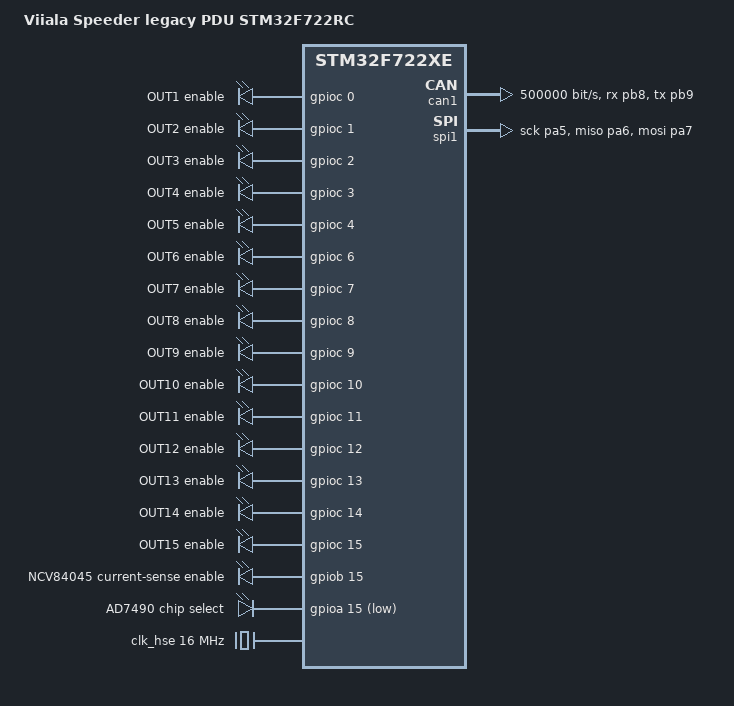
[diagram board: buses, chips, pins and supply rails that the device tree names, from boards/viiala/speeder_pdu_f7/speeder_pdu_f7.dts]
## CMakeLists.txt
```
cmake_minimum_required(VERSION 3.20.0)

# Keep this application and its board definition outside the Zephyr tree.
list(APPEND BOARD_ROOT ${CMAKE_CURRENT_SOURCE_DIR})
list(APPEND DTS_ROOT ${CMAKE_CURRENT_SOURCE_DIR})

find_package(Zephyr REQUIRED HINTS $ENV{ZEPHYR_BASE})
project(speeder_pdu_canopen)

# Export the selected dictionary to CANopenNode's separate library target.
# This also isolates the application from legacy object-dictionary paths in
# the shared workspace module.
zephyr_include_directories(${CMAKE_CURRENT_SOURCE_DIR}/objdict)

target_sources(app PRIVATE
	src/main.c
	src/pdu_adc.c
	src/pdu_control.c
	src/pdu_mcu_sensors.c
	src/pdu_telemetry.c
	objdict/CO_OD.c
)
target_include_directories(app PRIVATE objdict)

# The shared CANopenNode module in this laptop predates conditional program
# download source registration. Add that source from the discovered module
# only for the update-capable build, without modifying the shared module.
if(CONFIG_CANOPENNODE_PROGRAM_DOWNLOAD)
	target_sources(app PRIVATE
		${ZEPHYR_CANOPENNODEZEPHYR_MODULE_DIR}/src/canopen_program.c
		${ZEPHYR_CANOPENNODEZEPHYR_MODULE_DIR}/src/canopen_leds.c
	)
endif()
```

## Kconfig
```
menu "VIIALA PDU application"

config CANOPEN_NODE_ID
	int "CANopen node ID"
	range 1 127
	default 10

config PDU_SWO_DEBUG
	bool "Enable the temporary SWO diagnostic stream"
	default n
	help
	  Emit a boot message and periodic safe-state heartbeat over ITM/SWO.
	  This does not enable any power output or output-control object.

choice PDU_IMAGE_VARIANT
	prompt "Firmware image identity"
	default PDU_IMAGE_VARIANT_A
	help
	  Select the identity returned by CANopen SDO 0x100A:00.

config PDU_IMAGE_VARIANT_A
	bool "Image A (A001)"

config PDU_IMAGE_VARIANT_B
	bool "Image B (B001)"

endchoice

endmenu

source "Kconfig.zephyr"
```

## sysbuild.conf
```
# Build MCUboot and propagate overwrite-only mode to the application.
SB_CONFIG_BOOTLOADER_MCUBOOT=y
SB_CONFIG_MCUBOOT_MODE_OVERWRITE_ONLY=y

# Bench-only signature verification. Sysbuild defaults to the discovered
# MCUboot module's public RSA development key.
SB_CONFIG_BOOT_SIGNATURE_TYPE_RSA=y
```

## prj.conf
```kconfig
# Functional CANopen PDU with guarded current-protected outputs.
CONFIG_GPIO=y
CONFIG_ASSERT=y
CONFIG_MAIN_STACK_SIZE=2048
CONFIG_SPI=y

# CAN1/CANopen communication only. No persistent storage or program download
# is enabled until the 256 KiB flash sector layout and MCUboot fit are proven.
CONFIG_CAN=y
CONFIG_CAN_DEFAULT_BITRATE=500000
CONFIG_CANOPENNODE=y
CONFIG_CANOPEN_NODE_ID=10
CONFIG_CANOPENNODE_STORAGE=n
CONFIG_CANOPENNODE_LEDS=n
CONFIG_CANOPENNODE_SYNC_THREAD=y
CONFIG_CANOPENNODE_SYNC_THREAD_PERIOD_US=1000
CONFIG_CANOPENNODE_PROGRAM_DOWNLOAD=n

# Persistent settings are not enabled: the 256 KiB flash is fully occupied by
# MCUboot and the two image slots. SDO configuration survives communication
# resets but returns to compiled defaults after power loss.
CONFIG_CONSOLE=n
CONFIG_SERIAL=n
CONFIG_FLASH=n
CONFIG_FLASH_MAP=n
CONFIG_NVS=n
```

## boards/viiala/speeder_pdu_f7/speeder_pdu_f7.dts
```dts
/*
 * Copyright (c) 2026
 * SPDX-License-Identifier: Apache-2.0
 *
 * Hardware source: SPEEDER_PDU_v2.pdf, generated 2026-11-11.
 * MCU: STM32F722RCT6 (LQFP64, 256 KiB flash)
 * HSE: 16 MHz crystal
 */

/dts-v1/;

#include <st/f7/stm32f722Xe.dtsi>
#include <st/f7/stm32f722r(c-e)tx-pinctrl.dtsi>
#include <zephyr/dt-bindings/gpio/gpio.h>
#include <zephyr/dt-bindings/clock/stm32f7_clock.h>

/ {
	model = "Viiala Speeder legacy PDU STM32F722RC";
	compatible = "viiala,speeder-pdu-f7";

	chosen {
		zephyr,sram = &sram0;
		zephyr,flash = &flash0;
		zephyr,canbus = &can1;
		zephyr,code-partition = &slot0_partition;
	};

	/* The NCV84045 inputs have hardware pull-downs: reset/high-Z is OFF. */
	power_outputs: power_outputs {
		compatible = "gpio-leds";

		out1  { gpios = <&gpioc 0  GPIO_ACTIVE_HIGH>; label = "OUT1 enable";  };
		out2  { gpios = <&gpioc 1  GPIO_ACTIVE_HIGH>; label = "OUT2 enable";  };
		out3  { gpios = <&gpioc 2  GPIO_ACTIVE_HIGH>; label = "OUT3 enable";  };
		out4  { gpios = <&gpioc 3  GPIO_ACTIVE_HIGH>; label = "OUT4 enable";  };
		out5  { gpios = <&gpioc 4  GPIO_ACTIVE_HIGH>; label = "OUT5 enable";  };
		out6  { gpios = <&gpioc 6  GPIO_ACTIVE_HIGH>; label = "OUT6 enable";  };
		out7  { gpios = <&gpioc 7  GPIO_ACTIVE_HIGH>; label = "OUT7 enable";  };
		out8  { gpios = <&gpioc 8  GPIO_ACTIVE_HIGH>; label = "OUT8 enable";  };
		out9  { gpios = <&gpioc 9  GPIO_ACTIVE_HIGH>; label = "OUT9 enable";  };
		out10 { gpios = <&gpioc 10 GPIO_ACTIVE_HIGH>; label = "OUT10 enable"; };
		out11 { gpios = <&gpioc 11 GPIO_ACTIVE_HIGH>; label = "OUT11 enable"; };
		out12 { gpios = <&gpioc 12 GPIO_ACTIVE_HIGH>; label = "OUT12 enable"; };
		out13 { gpios = <&gpioc 13 GPIO_ACTIVE_HIGH>; label = "OUT13 enable"; };
		out14 { gpios = <&gpioc 14 GPIO_ACTIVE_HIGH>; label = "OUT14 enable"; };
		out15 { gpios = <&gpioc 15 GPIO_ACTIVE_HIGH>; label = "OUT15 enable"; };
	};

	current_sense_controls {
		compatible = "gpio-leds";

		current_sense_enable: cs_en {
			gpios = <&gpiob 15 GPIO_ACTIVE_HIGH>;
			label = "NCV84045 current-sense enable";
		};

		adc_cs: adc_cs {
			gpios = <&gpioa 15 GPIO_ACTIVE_LOW>;
			label = "AD7490 chip select";
		};
	};
};

&clk_hse {
	clock-frequency = <DT_FREQ_M(16)>;
	status = "okay";
};

/* 16 MHz / 8 * 216 / 2 = 216 MHz. */
&pll {
	div-m = <8>;
	mul-n = <216>;
	div-p = <2>;
	div-q = <9>;
	clocks = <&clk_hse>;
	status = "okay";
};

&rcc {
	clocks = <&pll>;
	clock-frequency = <DT_FREQ_M(216)>;
	ahb-prescaler = <1>;
	apb1-prescaler = <4>;
	apb2-prescaler = <2>;
};

/*
 * Upstream stm32f722Xe.dtsi describes the 512 KiB E variant. The fitted
 * STM32F722RCT6 is the 256 KiB C variant, so constrain both values here.
 */
&flash0 {
	reg = <0x08000000 DT_SIZE_K(256)>;
	ranges = <0 0x08000000 DT_SIZE_K(256)>;

	partitions {
		compatible = "fixed-partitions";
		#address-cells = <1>;
		#size-cells = <1>;

		/* Sectors 0-3: four 16 KiB sectors. */
		boot_partition: partition@0 {
			label = "mcuboot";
			reg = <0x00000000 DT_SIZE_K(64)>;
			read-only;
		};

		/* Sector 4: one 64 KiB sector. */
		slot0_partition: partition@10000 {
			label = "image-0";
			reg = <0x00010000 DT_SIZE_K(64)>;
		};

		/* Sector 5: one 128 KiB sector. */
		slot1_partition: partition@20000 {
			label = "image-1";
			reg = <0x00020000 DT_SIZE_K(128)>;
		};
	};
};

&can1 {
	pinctrl-0 = <&can1_rx_pb8 &can1_tx_pb9>;
	pinctrl-names = "default";
	bitrate = <500000>;
	status = "okay";
};

&spi1 {
	pinctrl-0 = <&spi1_sck_pa5 &spi1_miso_pa6 &spi1_mosi_pa7>;
	pinctrl-names = "default";
	status = "okay";
};

&usart2 {
	status = "disabled";
};
```

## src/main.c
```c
/*
 * Functional CANopen firmware for the VIIALA PDU.
 *
 * Outputs always initialize OFF. They can only turn on while CANopen is
 * Operational, current telemetry is valid, and no latched fault is present.
 */

#include <zephyr/device.h>
#include <zephyr/devicetree.h>
#include <zephyr/kernel.h>
#include <zephyr/logging/log.h>
#include <zephyr/sys/reboot.h>
#include <canopennode.h>

#include "CO_OD.h"
#include "pdu_adc.h"
#include "pdu_control.h"
#include "pdu_mcu_sensors.h"
#include "pdu_telemetry.h"

LOG_MODULE_REGISTER(viiala_pdu, LOG_LEVEL_INF);

#define CAN_INTERFACE DEVICE_DT_GET(DT_CHOSEN(zephyr_canbus))
#define CAN_BITRATE_KBPS_DEFAULT \
	(DT_PROP(DT_CHOSEN(zephyr_canbus), bitrate) / 1000)
#define ADC_SAMPLE_PERIOD_MS 5U
#define SLOW_TELEMETRY_PERIOD_MS 5000U
#define COMM_APPLY_MAGIC 0xA5U
#define COMM_APPLY_REJECTED 0xFFU

static bool bitrate_supported(uint16_t bitrate_kbps)
{
	return bitrate_kbps == 125U || bitrate_kbps == 250U ||
	       bitrate_kbps == 500U || bitrate_kbps == 1000U;
}

int main(void)
{
	struct canopen_context can = { .dev = CAN_INTERFACE };
	CO_NMT_reset_cmd_t reset = CO_RESET_NOT;
	uint8_t node_id = CONFIG_CANOPEN_NODE_ID;
	uint16_t bitrate_kbps = CAN_BITRATE_KBPS_DEFAULT;
	bool adc_ready;
	bool mcu_sensors_ready;
	bool currents_valid = false;
	uint16_t raw[PDU_OUTPUT_COUNT];
	int64_t next_adc_ms = 0;
	int64_t next_slow_telemetry_ms = 0;
	int64_t next_swo_heartbeat_ms = 0;

	if (pdu_control_init() != 0 || !device_is_ready(can.dev)) {
		LOG_ERR("Output GPIO or CAN initialization failed");
		return 0;
	}

	pdu_telemetry_init_safe();
	adc_ready = pdu_adc_init() == 0;
	mcu_sensors_ready = pdu_mcu_sensors_init() == 0;
	if (!adc_ready) {
		LOG_ERR("AD7490 initialization failed; outputs locked OFF");
	}
	if (!mcu_sensors_ready) {
		LOG_WRN("MCU temperature/VREF sensors are unavailable");
	}

	OD_pendingNodeID = node_id;
	OD_pendingBitrate_kbps = bitrate_kbps;
	LOG_INF("VIIALA_PDU1_V0 boot: all %u outputs OFF", PDU_OUTPUT_COUNT);
	next_swo_heartbeat_ms = k_uptime_get() + 5000;

	do {
		reset = CO_RESET_NOT;
		pdu_control_all_off();
		/* TPDO5 is manufacturer-specific; keep its COB-ID node-relative. */
		OD_TPDOCommunicationParameter[4].COB_IDUsedByTPDO =
			0x680U + node_id;

		if (CO_init(&can, node_id, bitrate_kbps) != CO_ERROR_NO) {
			LOG_ERR("CANopen initialization failed");
			return 0;
		}

		CO_CANsetNormalMode(CO->CANmodule[0]);
		LOG_INF("CANopen node %u at %u kbit/s", node_id, bitrate_kbps);

		if (IS_ENABLED(CONFIG_CANOPENNODE_PROGRAM_DOWNLOAD)) {
			canopen_program_download_attach(CO->NMT, CO->SDO[0], CO->em);
		}

		next_adc_ms = k_uptime_get();
		next_slow_telemetry_ms = k_uptime_get();
		while (reset == CO_RESET_NOT) {
			uint16_t timeout_ms = 1U;
			int64_t timestamp = k_uptime_get();
			bool operational =
				CO->NMT->operatingState == CO_NMT_OPERATIONAL;

			if (adc_ready && timestamp >= next_adc_ms) {
				uint16_t active = pdu_control_active_outputs();

				if (pdu_adc_sample(raw, active) == 0) {

					currents_valid = true;
					for (size_t i = 0; i < PDU_OUTPUT_COUNT; ++i) {
						uint32_t current_ma =
							(active & BIT(i)) != 0U ?
							pdu_adc_raw_to_ma(raw[i]) : 0U;

						(void)pdu_telemetry_set_current(
							i, raw[i], current_ma);
					}
				} else {
					currents_valid = false;
					pdu_telemetry_invalidate_currents();
				}
				next_adc_ms = timestamp + ADC_SAMPLE_PERIOD_MS;
			}

			if (timestamp >= next_slow_telemetry_ms) {
				uint16_t input_raw;
				uint16_t input_mv;
				int16_t die_temp_dc;
				uint16_t vdda_mv;

				if (adc_ready && pdu_adc_read_input_voltage(
							&input_raw, &input_mv) == 0) {
					pdu_telemetry_set_supply_voltage(input_mv, true);
				} else {
					pdu_telemetry_set_supply_voltage(0U, false);
				}

				if (mcu_sensors_ready && pdu_mcu_sensors_sample(
							&die_temp_dc, &vdda_mv) == 0) {
					pdu_telemetry_set_mcu_temperature(die_temp_dc, true);
					pdu_telemetry_set_mcu_supply(vdda_mv, true);
				} else {
					pdu_telemetry_set_mcu_temperature(0, false);
					pdu_telemetry_set_mcu_supply(0U, false);
				}
				if (operational) {
					(void)CO_TPDOsend(CO->TPDO[4]);
				}

				next_slow_telemetry_ms = timestamp +
							 SLOW_TELEMETRY_PERIOD_MS;
			}

			pdu_control_tick(timestamp, operational, currents_valid);
			pdu_telemetry_tick();

			if (OD_commApply == COMM_APPLY_MAGIC) {
				if (OD_pendingNodeID >= 1U && OD_pendingNodeID <= 127U &&
				    bitrate_supported(OD_pendingBitrate_kbps)) {
					OD_outputRequest = 0U;
					pdu_control_all_off();
					node_id = OD_pendingNodeID;
					bitrate_kbps = OD_pendingBitrate_kbps;
					OD_commApply = 0U;
					reset = CO_RESET_COMM;
				} else {
					OD_commApply = COMM_APPLY_REJECTED;
				}
			}

			if (IS_ENABLED(CONFIG_PDU_SWO_DEBUG) &&
			    timestamp >= next_swo_heartbeat_ms) {
				LOG_INF("uptime=%u outputs=0x%04x current=%u mA",
					OD_uptime_s, OD_outputStates,
					OD_totalCurrent_mA);
				next_swo_heartbeat_ms = timestamp + 5000;
			}

			if (reset == CO_RESET_NOT) {
				reset = CO_process(CO, 1U, &timeout_ms);
			}
			if (reset == CO_RESET_NOT && timeout_ms > 0U) {
				k_sleep(K_MSEC(MIN(timeout_ms, 1U)));
			}
		}

		pdu_control_all_off();
		CO_delete(&can);
	} while (reset != CO_RESET_APP);

	if (IS_ENABLED(CONFIG_REBOOT)) {
		sys_reboot(SYS_REBOOT_COLD);
	}

	return 0;
}
```

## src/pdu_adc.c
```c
/* SPDX-License-Identifier: Apache-2.0 */

#include <errno.h>

#include <zephyr/device.h>
#include <zephyr/devicetree.h>
#include <zephyr/drivers/gpio.h>
#include <zephyr/drivers/spi.h>
#include <zephyr/kernel.h>
#include <zephyr/sys/util.h>

#include "pdu_adc.h"

#define AD7490_WRITE              BIT(15)
#define AD7490_CHANNEL_SHIFT      10U
#define AD7490_POWER_NORMAL       (3U << 8)
#define AD7490_RANGE_REFIN        BIT(5)
#define AD7490_CODING_BINARY      BIT(4)
#define AD7490_RESULT_MASK        0x0FFFU
#define AD7490_CHANNEL_MASK       0xF000U
#define AD7490_SPI_FREQUENCY_HZ   1000000U

#define AD7490_REFERENCE_MV       2500U
#define NCV84045_SENSE_RATIO_TYP  1230U
#define CURRENT_SENSE_RESISTOR_OHM 301U
#define AD7490_FULL_SCALE_COUNTS  4095U
#define AD7490_ZERO_OFFSET_COUNTS    6U
#define CURRENT_DUMMY_READS          3U
#define CURRENT_FILTER_SAMPLES      16U
#define INPUT_VOLTAGE_CHANNEL       15U
#define INPUT_DIVIDER_HIGH_OHM      100000U
#define INPUT_DIVIDER_LOW_OHM        22000U

static const struct device *const spi_dev = DEVICE_DT_GET(DT_NODELABEL(spi1));
static const struct gpio_dt_spec adc_cs =
	GPIO_DT_SPEC_GET(DT_NODELABEL(adc_cs), gpios);
static const struct gpio_dt_spec current_sense_enable =
	GPIO_DT_SPEC_GET(DT_NODELABEL(current_sense_enable), gpios);

static const struct spi_config spi_cfg = {
	.frequency = AD7490_SPI_FREQUENCY_HZ,
	.operation = SPI_OP_MODE_MASTER | SPI_WORD_SET(8) |
		     SPI_TRANSFER_MSB,
	.slave = 0,
};

static uint16_t ad7490_control_word(uint8_t channel)
{
	return AD7490_WRITE | ((uint16_t)(channel & 0x0FU) << AD7490_CHANNEL_SHIFT) |
	       AD7490_POWER_NORMAL | AD7490_RANGE_REFIN | AD7490_CODING_BINARY;
}

static int ad7490_transfer(uint16_t tx_word, uint16_t *rx_word)
{
	uint8_t tx[2] = { (uint8_t)(tx_word >> 8), (uint8_t)tx_word };
	uint8_t rx[2] = { 0U, 0U };
	const struct spi_buf tx_buf = { .buf = tx, .len = sizeof(tx) };
	const struct spi_buf rx_buf = { .buf = rx, .len = sizeof(rx) };
	const struct spi_buf_set tx_set = { .buffers = &tx_buf, .count = 1 };
	const struct spi_buf_set rx_set = { .buffers = &rx_buf, .count = 1 };
	int ret;

	/* GPIO_ACTIVE_LOW makes logical 1 assert CS and logical 0 release it. */
	ret = gpio_pin_set_dt(&adc_cs, 1);
	if (ret != 0) {
		return ret;
	}

	k_busy_wait(1U);
	ret = spi_transceive(spi_dev, &spi_cfg, &tx_set, &rx_set);
	k_busy_wait(1U);
	(void)gpio_pin_set_dt(&adc_cs, 0);
	k_busy_wait(1U);

	if (ret == 0 && rx_word != NULL) {
		*rx_word = ((uint16_t)rx[0] << 8) | rx[1];
	}

	return ret;
}

static int ad7490_read_channel(uint8_t channel, uint16_t *raw)
{
	uint16_t response;
	uint16_t control = ad7490_control_word(channel);
	int ret;

	/* The first transfer selects the channel. The second returns that result. */
	ret = ad7490_transfer(control, &response);
	if (ret != 0) {
		return ret;
	}

	ret = ad7490_transfer(control, &response);
	if (ret != 0) {
		return ret;
	}

	if (((response & AD7490_CHANNEL_MASK) >> 12) != channel) {
		return -EIO;
	}

	*raw = response & AD7490_RESULT_MASK;
	return 0;
}

static int ad7490_read_current_filtered(uint8_t channel, uint16_t *raw_average)
{
	uint32_t sum = 0U;
	uint16_t raw = 0U;
	uint16_t minimum = UINT16_MAX;
	uint16_t maximum = 0U;
	int ret;

	/* Match the proven VI_PDU3 low-current acquisition sequence. */
	for (uint8_t i = 0U; i < CURRENT_DUMMY_READS; ++i) {
		ret = ad7490_read_channel(channel, &raw);
		if (ret != 0) {
			return ret;
		}
	}

	for (uint8_t i = 0U; i < CURRENT_FILTER_SAMPLES; ++i) {
		ret = ad7490_read_channel(channel, &raw);
		if (ret != 0) {
			return ret;
		}
		sum += raw;
		minimum = MIN(minimum, raw);
		maximum = MAX(maximum, raw);
	}

	sum -= minimum;
	sum -= maximum;
	*raw_average = (uint16_t)((sum + ((CURRENT_FILTER_SAMPLES - 2U) / 2U)) /
				 (CURRENT_FILTER_SAMPLES - 2U));
	return 0;
}

int pdu_adc_init(void)
{
	uint16_t ignored;
	int ret;

	if (!device_is_ready(spi_dev) || !gpio_is_ready_dt(&adc_cs) ||
	    !gpio_is_ready_dt(&current_sense_enable)) {
		return -ENODEV;
	}

	ret = gpio_pin_configure_dt(&adc_cs, GPIO_OUTPUT_INACTIVE);
	if (ret != 0) {
		return ret;
	}

	ret = gpio_pin_configure_dt(&current_sense_enable, GPIO_OUTPUT_INACTIVE);
	if (ret != 0) {
		return ret;
	}

	/* Prime with a valid channel-0 control word, as verified on VI_PDU3. */
	ret = ad7490_transfer(ad7490_control_word(0U), &ignored);
	if (ret != 0) {
		return ret;
	}

	ret = gpio_pin_set_dt(&current_sense_enable, 1);
	if (ret != 0) {
		return ret;
	}

	/* Allow the NCV84045 current-sense outputs to settle. */
	k_sleep(K_USEC(100));
	return 0;
}

int pdu_adc_sample(uint16_t raw[PDU_OUTPUT_COUNT], uint16_t active_outputs)
{
	for (uint8_t channel = 0U; channel < PDU_OUTPUT_COUNT; ++channel) {
		int ret;

		if ((active_outputs & BIT(channel)) != 0U) {
			ret = ad7490_read_current_filtered(channel, &raw[channel]);
		} else {
			ret = ad7490_read_channel(channel, &raw[channel]);
		}

		if (ret != 0) {
			return ret;
		}
	}

	return 0;
}

int pdu_adc_read_input_voltage(uint16_t *raw, uint16_t *millivolts)
{
	uint16_t sample;
	uint64_t numerator;
	uint32_t denominator;
	int ret;

	if (raw == NULL || millivolts == NULL) {
		return -EINVAL;
	}

	ret = ad7490_read_current_filtered(INPUT_VOLTAGE_CHANNEL, &sample);
	if (ret != 0) {
		return ret;
	}

	numerator = (uint64_t)sample * AD7490_REFERENCE_MV *
		    (INPUT_DIVIDER_HIGH_OHM + INPUT_DIVIDER_LOW_OHM);
	denominator = AD7490_FULL_SCALE_COUNTS * INPUT_DIVIDER_LOW_OHM;

	*raw = sample;
	*millivolts = (uint16_t)MIN((numerator + denominator / 2U) / denominator,
				      UINT16_MAX);
	return 0;
}

uint32_t pdu_adc_raw_to_ma(uint16_t raw)
{
	uint16_t corrected_raw = raw > AD7490_ZERO_OFFSET_COUNTS ?
				 raw - AD7490_ZERO_OFFSET_COUNTS : 0U;
	uint64_t numerator = (uint64_t)corrected_raw * AD7490_REFERENCE_MV *
			     NCV84045_SENSE_RATIO_TYP;
	uint32_t denominator = AD7490_FULL_SCALE_COUNTS *
			       CURRENT_SENSE_RESISTOR_OHM;

	return (uint32_t)((numerator + (denominator / 2U)) / denominator);
}
```

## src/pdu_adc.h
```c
/* SPDX-License-Identifier: Apache-2.0 */

#ifndef PDU_ADC_H_
#define PDU_ADC_H_

#include <stdint.h>

#include "pdu_telemetry.h"

int pdu_adc_init(void);
int pdu_adc_sample(uint16_t raw[PDU_OUTPUT_COUNT], uint16_t active_outputs);
int pdu_adc_read_input_voltage(uint16_t *raw, uint16_t *millivolts);
uint32_t pdu_adc_raw_to_ma(uint16_t raw);

#endif /* PDU_ADC_H_ */
```

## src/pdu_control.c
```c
/* SPDX-License-Identifier: Apache-2.0 */

#include <errno.h>

#include <zephyr/devicetree.h>
#include <zephyr/drivers/gpio.h>
#include <zephyr/sys/util.h>
#include <canopennode.h>

#include "CO_OD.h"
#include "pdu_control.h"
#include "pdu_telemetry.h"

#define POWER_OUTPUTS_NODE DT_NODELABEL(power_outputs)
#define OUTPUT_SPEC(node_id) GPIO_DT_SPEC_GET(node_id, gpios),

#define PDU_LIMIT_MIN_MA          100U
#define PDU_LIMIT_MAX_MA        10000U
#define PDU_TRIP_TIME_MIN_MS        1U
#define PDU_TRIP_TIME_MAX_MS     5000U
#define PDU_INRUSH_TIME_MAX_MS  10000U

static const struct gpio_dt_spec outputs[] = {
	DT_FOREACH_CHILD(POWER_OUTPUTS_NODE, OUTPUT_SPEC)
};

static int64_t enabled_at_ms[PDU_OUTPUT_COUNT];
static int64_t over_limit_at_ms[PDU_OUTPUT_COUNT];
static uint16_t actual_outputs;

static uint16_t clamp_u16(uint16_t value, uint16_t minimum, uint16_t maximum)
{
	return MIN(MAX(value, minimum), maximum);
}

int pdu_control_init(void)
{
	BUILD_ASSERT(ARRAY_SIZE(outputs) == PDU_OUTPUT_COUNT,
		     "Power-output GPIO count must match PDU_OUTPUT_COUNT");

	for (size_t i = 0; i < ARRAY_SIZE(outputs); ++i) {
		if (!gpio_is_ready_dt(&outputs[i])) {
			return -ENODEV;
		}
		if (gpio_pin_configure_dt(&outputs[i], GPIO_OUTPUT_INACTIVE) != 0) {
			return -EIO;
		}
		enabled_at_ms[i] = 0;
		over_limit_at_ms[i] = 0;
	}

	actual_outputs = 0U;
	return 0;
}

void pdu_control_all_off(void)
{
	for (size_t i = 0; i < ARRAY_SIZE(outputs); ++i) {
		(void)gpio_pin_set_dt(&outputs[i], 0);
		enabled_at_ms[i] = 0;
		over_limit_at_ms[i] = 0;
	}
	actual_outputs = 0U;
	pdu_telemetry_set_output_states(0U, OD_outputRequest & PDU_OUTPUT_MASK);
}

uint16_t pdu_control_active_outputs(void)
{
	return actual_outputs;
}

void pdu_control_tick(int64_t now_ms, bool canopen_operational,
		      bool current_measurement_valid)
{
	uint16_t requested;
	uint16_t clear_request;
	uint16_t faults;

	CO_LOCK_OD();
	requested = OD_outputRequest & PDU_OUTPUT_MASK;
	/* Never retain an armed request across a stopped bus or invalid ADC scan. */
	if (!canopen_operational || !current_measurement_valid) {
		requested = 0U;
		OD_outputRequest = 0U;
	}
	clear_request = OD_faultClearRequest & PDU_OUTPUT_MASK;
	OD_faultClearRequest = 0U;
	faults = OD_overCurrentFaults & PDU_OUTPUT_MASK;

	for (size_t i = 0; i < PDU_OUTPUT_COUNT; ++i) {
		OD_currentLimit_mA[i] = clamp_u16(OD_currentLimit_mA[i],
			PDU_LIMIT_MIN_MA, PDU_LIMIT_MAX_MA);
		OD_currentTripTime_ms[i] = clamp_u16(OD_currentTripTime_ms[i],
			PDU_TRIP_TIME_MIN_MS, PDU_TRIP_TIME_MAX_MS);
		OD_inrushLimit_mA[i] = clamp_u16(OD_inrushLimit_mA[i],
			OD_currentLimit_mA[i], PDU_LIMIT_MAX_MA);
		OD_inrushTime_ms[i] = MIN(OD_inrushTime_ms[i],
			PDU_INRUSH_TIME_MAX_MS);
	}
	CO_UNLOCK_OD();

	/* A latched channel may only be cleared after its command is OFF. */
	faults &= ~(clear_request & ~requested);

	for (size_t i = 0; i < PDU_OUTPUT_COUNT; ++i) {
		uint16_t bit = BIT(i);
		bool desired = canopen_operational && current_measurement_valid &&
			       ((requested & bit) != 0U) && ((faults & bit) == 0U);
		bool just_enabled = desired && (actual_outputs & bit) == 0U;

		if (just_enabled) {
			enabled_at_ms[i] = now_ms;
			over_limit_at_ms[i] = 0;
		}

		/* The first current value still belongs to the OFF-state diagnostic. */
		if (desired && !just_enabled) {
			uint32_t age_ms = (uint32_t)(now_ms - enabled_at_ms[i]);
			bool inrush = age_ms < OD_inrushTime_ms[i];
			uint16_t threshold = inrush ? OD_inrushLimit_mA[i] :
						     OD_currentLimit_mA[i];
			uint16_t current = OD_outputCurrent_mA[i];

			if (current > threshold) {
				if (inrush || over_limit_at_ms[i] == 0) {
					over_limit_at_ms[i] = now_ms;
				}
				if (inrush ||
				    (uint32_t)(now_ms - over_limit_at_ms[i]) >=
					OD_currentTripTime_ms[i]) {
					faults |= bit;
					OD_overCurrentTripCount[i]++;
					desired = false;
				}
			} else {
				over_limit_at_ms[i] = 0;
			}
		}

		(void)gpio_pin_set_dt(&outputs[i], desired ? 1 : 0);
		if (desired) {
			actual_outputs |= bit;
		} else {
			actual_outputs &= ~bit;
			enabled_at_ms[i] = 0;
			over_limit_at_ms[i] = 0;
		}
	}

	pdu_telemetry_set_output_states(actual_outputs, requested);
	pdu_telemetry_set_fault_masks(faults, faults, 0U, 0U);
}
```

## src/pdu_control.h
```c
/* SPDX-License-Identifier: Apache-2.0 */

#ifndef PDU_CONTROL_H_
#define PDU_CONTROL_H_

#include <stdbool.h>
#include <stdint.h>

int pdu_control_init(void);
void pdu_control_all_off(void);
uint16_t pdu_control_active_outputs(void);
void pdu_control_tick(int64_t now_ms, bool canopen_operational,
		      bool current_measurement_valid);

#endif /* PDU_CONTROL_H_ */
```

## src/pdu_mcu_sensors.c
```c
/* SPDX-License-Identifier: Apache-2.0 */

#include <errno.h>
#include <limits.h>

#include <zephyr/kernel.h>
#include <zephyr/sys/util.h>

#include <stm32_ll_adc.h>
#include <stm32_ll_bus.h>

#include "pdu_mcu_sensors.h"

#define ADC_CONVERSION_TIMEOUT_US 1000U
#define ADC_AVERAGE_SAMPLES          8U

static int read_channel(uint32_t channel, uint16_t *sample)
{
	uint32_t timeout = ADC_CONVERSION_TIMEOUT_US;

	LL_ADC_SetChannelSamplingTime(ADC1, channel, LL_ADC_SAMPLINGTIME_480CYCLES);
	LL_ADC_REG_SetSequencerRanks(ADC1, LL_ADC_REG_RANK_1, channel);
	LL_ADC_ClearFlag_EOCS(ADC1);
	LL_ADC_REG_StartConversionSWStart(ADC1);

	while (!LL_ADC_IsActiveFlag_EOCS(ADC1)) {
		if (timeout-- == 0U) {
			return -ETIMEDOUT;
		}
		k_busy_wait(1U);
	}

	*sample = LL_ADC_REG_ReadConversionData12(ADC1);
	return 0;
}

static int read_average(uint32_t channel, uint16_t *average)
{
	uint32_t sum = 0U;
	uint16_t sample;
	int ret;

	for (uint8_t i = 0U; i < ADC_AVERAGE_SAMPLES; ++i) {
		ret = read_channel(channel, &sample);
		if (ret != 0) {
			return ret;
		}
		sum += sample;
	}

	*average = (uint16_t)((sum + ADC_AVERAGE_SAMPLES / 2U) /
				     ADC_AVERAGE_SAMPLES);
	return 0;
}

int pdu_mcu_sensors_init(void)
{
	LL_APB2_GRP1_EnableClock(LL_APB2_GRP1_PERIPH_ADC1);
	LL_ADC_SetCommonClock(__LL_ADC_COMMON_INSTANCE(ADC1),
			      LL_ADC_CLOCK_SYNC_PCLK_DIV4);
	LL_ADC_SetResolution(ADC1, LL_ADC_RESOLUTION_12B);
	LL_ADC_SetDataAlignment(ADC1, LL_ADC_DATA_ALIGN_RIGHT);
	LL_ADC_REG_SetSequencerLength(ADC1, LL_ADC_REG_SEQ_SCAN_DISABLE);
	LL_ADC_REG_SetTriggerSource(ADC1, LL_ADC_REG_TRIG_SOFTWARE);
	LL_ADC_REG_SetContinuousMode(ADC1, LL_ADC_REG_CONV_SINGLE);
	LL_ADC_SetCommonPathInternalCh(__LL_ADC_COMMON_INSTANCE(ADC1),
				       LL_ADC_PATH_INTERNAL_VREFINT |
				       LL_ADC_PATH_INTERNAL_TEMPSENSOR);
	LL_ADC_Enable(ADC1);
	k_busy_wait(20U);
	return 0;
}

int pdu_mcu_sensors_sample(int16_t *temperature_dC, uint16_t *vdda_mV)
{
	uint16_t vref_raw;
	uint16_t temp_raw;
	int32_t temp_at_cal_vdda;
	int32_t denominator;
	int32_t temperature;
	uint32_t vdda;
	int ret;

	if (temperature_dC == NULL || vdda_mV == NULL) {
		return -EINVAL;
	}

	ret = read_average(LL_ADC_CHANNEL_VREFINT, &vref_raw);
	if (ret != 0 || vref_raw == 0U) {
		return ret != 0 ? ret : -ENODATA;
	}
	ret = read_average(LL_ADC_CHANNEL_TEMPSENSOR, &temp_raw);
	if (ret != 0) {
		return ret;
	}

	vdda = ((uint32_t)*VREFINT_CAL_ADDR * VREFINT_CAL_VREF + vref_raw / 2U) /
	       vref_raw;
	temp_at_cal_vdda = ((int32_t)temp_raw * (int32_t)vdda +
			     (TEMPSENSOR_CAL_VREFANALOG / 2)) /
			    TEMPSENSOR_CAL_VREFANALOG;
	denominator = (int32_t)*TEMPSENSOR_CAL2_ADDR -
		      (int32_t)*TEMPSENSOR_CAL1_ADDR;
	if (denominator == 0) {
		return -ENODATA;
	}
	temperature = TEMPSENSOR_CAL1_TEMP * 10 +
		      ((temp_at_cal_vdda - (int32_t)*TEMPSENSOR_CAL1_ADDR) *
		       (TEMPSENSOR_CAL2_TEMP - TEMPSENSOR_CAL1_TEMP) * 10) /
		      denominator;

	*temperature_dC = (int16_t)CLAMP(temperature, INT16_MIN, INT16_MAX);
	*vdda_mV = (uint16_t)MIN(vdda, UINT16_MAX);
	return 0;
}
```

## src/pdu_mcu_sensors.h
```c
/* SPDX-License-Identifier: Apache-2.0 */

#ifndef PDU_MCU_SENSORS_H_
#define PDU_MCU_SENSORS_H_

#include <stdint.h>

int pdu_mcu_sensors_init(void);
int pdu_mcu_sensors_sample(int16_t *temperature_dC, uint16_t *vdda_mV);

#endif /* PDU_MCU_SENSORS_H_ */
```

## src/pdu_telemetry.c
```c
/* SPDX-License-Identifier: Apache-2.0 */

#include <errno.h>
#include <limits.h>

#include <zephyr/kernel.h>
#include <zephyr/sys/util.h>
#include <canopennode.h>

#include "CO_OD.h"
#include "pdu_telemetry.h"

#define PDU_ADC_MAX_COUNT 4095U
#define PDU_CURRENT_MAX_MA (UINT16_MAX - 1U)
#define PDU_ALL_CURRENT_VALID_MASK 0x0000FFFEUL

static void update_total_current(void)
{
	uint32_t total = 0U;

	if ((OD_telemetryValidity & PDU_ALL_CURRENT_VALID_MASK) !=
	    PDU_ALL_CURRENT_VALID_MASK) {
		OD_totalCurrent_mA = PDU_TELEMETRY_UNKNOWN_U32;
		OD_telemetryValidity &= ~PDU_VALID_TOTAL_CURRENT;
		return;
	}

	for (size_t i = 0; i < PDU_OUTPUT_COUNT; ++i) {
		total += OD_outputCurrent_mA[i];
	}

	OD_totalCurrent_mA = total;
	OD_telemetryValidity |= PDU_VALID_TOTAL_CURRENT;
}

void pdu_telemetry_init_safe(void)
{
	CO_LOCK_OD();

	OD_outputStates = 0U;
	OD_outputCommanded = 0U;
	OD_outputFaults = 0U;
	OD_overCurrentFaults = 0U;
	OD_openLoadFaults = 0U;
	OD_outputDisabled = 0U;
	OD_totalCurrent_mA = PDU_TELEMETRY_UNKNOWN_U32;
	OD_supplyVoltage_mV = PDU_TELEMETRY_UNKNOWN_U16;
	OD_boardTemperature_dC = PDU_TELEMETRY_UNKNOWN_I16;
	OD_mcuTemperature_dC = PDU_TELEMETRY_UNKNOWN_I16;
	OD_mcuSupplyVoltage_mV = PDU_TELEMETRY_UNKNOWN_U16;
	OD_uptime_s = 0U;
	OD_resetReason = PDU_TELEMETRY_UNKNOWN_U16;
	OD_brownoutCount = 0U;
	OD_canBusOffCount = 0U;
	OD_warningFlags = 0U;
	OD_telemetryValidity = PDU_VALID_OUTPUT_STATES;

	for (size_t i = 0; i < PDU_OUTPUT_COUNT; ++i) {
		OD_outputCurrent_mA[i] = PDU_TELEMETRY_UNKNOWN_U16;
		OD_currentSenseRaw[i] = PDU_TELEMETRY_UNKNOWN_U16;
		OD_peakCurrent_mA[i] = PDU_TELEMETRY_UNKNOWN_U16;
		OD_overCurrentTripCount[i] = 0U;
	}

	CO_UNLOCK_OD();
}

void pdu_telemetry_set_supply_voltage(uint16_t millivolts, bool valid)
{
	CO_LOCK_OD();
	OD_supplyVoltage_mV = valid ? millivolts : PDU_TELEMETRY_UNKNOWN_U16;
	WRITE_BIT(OD_telemetryValidity, 17, valid);
	CO_UNLOCK_OD();
}

void pdu_telemetry_set_mcu_temperature(int16_t decicelsius, bool valid)
{
	CO_LOCK_OD();
	OD_mcuTemperature_dC = valid ? decicelsius : PDU_TELEMETRY_UNKNOWN_I16;
	WRITE_BIT(OD_telemetryValidity, 19, valid);
	CO_UNLOCK_OD();
}

void pdu_telemetry_set_mcu_supply(uint16_t millivolts, bool valid)
{
	CO_LOCK_OD();
	OD_mcuSupplyVoltage_mV = valid ? millivolts : PDU_TELEMETRY_UNKNOWN_U16;
	WRITE_BIT(OD_telemetryValidity, 22, valid);
	CO_UNLOCK_OD();
}

void pdu_telemetry_tick(void)
{
	CO_LOCK_OD();
	OD_uptime_s = (uint32_t)(k_uptime_get() / MSEC_PER_SEC);
	CO_UNLOCK_OD();
}

void pdu_telemetry_invalidate_currents(void)
{
	CO_LOCK_OD();
	for (size_t i = 0; i < PDU_OUTPUT_COUNT; ++i) {
		OD_outputCurrent_mA[i] = PDU_TELEMETRY_UNKNOWN_U16;
		OD_currentSenseRaw[i] = PDU_TELEMETRY_UNKNOWN_U16;
	}
	OD_totalCurrent_mA = PDU_TELEMETRY_UNKNOWN_U32;
	OD_telemetryValidity &= ~(PDU_ALL_CURRENT_VALID_MASK |
				  PDU_VALID_TOTAL_CURRENT);
	CO_UNLOCK_OD();
}

void pdu_telemetry_set_output_states(uint16_t actual, uint16_t commanded)
{
	CO_LOCK_OD();
	OD_outputStates = actual & PDU_OUTPUT_MASK;
	OD_outputCommanded = commanded & PDU_OUTPUT_MASK;
	OD_telemetryValidity |= PDU_VALID_OUTPUT_STATES;
	CO_UNLOCK_OD();
}

void pdu_telemetry_set_fault_masks(uint16_t all_faults,
				   uint16_t over_current,
				   uint16_t open_load,
				   uint16_t disabled)
{
	CO_LOCK_OD();
	OD_outputFaults = all_faults & PDU_OUTPUT_MASK;
	OD_overCurrentFaults = over_current & PDU_OUTPUT_MASK;
	OD_openLoadFaults = open_load & PDU_OUTPUT_MASK;
	OD_outputDisabled = disabled & PDU_OUTPUT_MASK;
	OD_telemetryValidity |= PDU_VALID_FAULT_MASKS;
	CO_UNLOCK_OD();
}

int pdu_telemetry_set_current(size_t channel, uint16_t raw_adc,
			      uint32_t current_mA)
{
	uint16_t measured_mA;
	uint32_t validity_bit;

	if (channel >= PDU_OUTPUT_COUNT || raw_adc > PDU_ADC_MAX_COUNT) {
		return -EINVAL;
	}

	measured_mA = (uint16_t)MIN(current_mA, PDU_CURRENT_MAX_MA);
	validity_bit = 1UL << (channel + 1U);

	CO_LOCK_OD();
	OD_currentSenseRaw[channel] = raw_adc;
	OD_outputCurrent_mA[channel] = measured_mA;
	if (OD_peakCurrent_mA[channel] == PDU_TELEMETRY_UNKNOWN_U16 ||
	    measured_mA > OD_peakCurrent_mA[channel]) {
		OD_peakCurrent_mA[channel] = measured_mA;
	}

	OD_telemetryValidity |= validity_bit;
	update_total_current();
	CO_UNLOCK_OD();

	return 0;
}
```

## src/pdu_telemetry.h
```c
/* SPDX-License-Identifier: Apache-2.0 */

#ifndef PDU_TELEMETRY_H_
#define PDU_TELEMETRY_H_

#include <stdbool.h>
#include <stddef.h>
#include <stdint.h>

#define PDU_OUTPUT_COUNT 15U
#define PDU_OUTPUT_MASK  0x7FFFU

#define PDU_TELEMETRY_UNKNOWN_U16 UINT16_MAX
#define PDU_TELEMETRY_UNKNOWN_U32 UINT32_MAX
#define PDU_TELEMETRY_UNKNOWN_I16 INT16_MAX

enum pdu_telemetry_validity {
	PDU_VALID_OUTPUT_STATES = (1UL << 0),
	PDU_VALID_CURRENT_1     = (1UL << 1),
	PDU_VALID_CURRENT_15    = (1UL << 15),
	PDU_VALID_TOTAL_CURRENT = (1UL << 16),
	PDU_VALID_SUPPLY_VOLTAGE = (1UL << 17),
	PDU_VALID_BOARD_TEMPERATURE = (1UL << 18),
	PDU_VALID_MCU_TEMPERATURE = (1UL << 19),
	PDU_VALID_FAULT_MASKS = (1UL << 20),
	PDU_VALID_DIAGNOSTICS = (1UL << 21),
	PDU_VALID_MCU_SUPPLY = (1UL << 22),
};

void pdu_telemetry_init_safe(void);
void pdu_telemetry_tick(void);
void pdu_telemetry_invalidate_currents(void);
void pdu_telemetry_set_supply_voltage(uint16_t millivolts, bool valid);
void pdu_telemetry_set_mcu_temperature(int16_t decicelsius, bool valid);
void pdu_telemetry_set_mcu_supply(uint16_t millivolts, bool valid);
void pdu_telemetry_set_output_states(uint16_t actual, uint16_t commanded);
void pdu_telemetry_set_fault_masks(uint16_t all_faults,
				   uint16_t over_current,
				   uint16_t open_load,
				   uint16_t disabled);
int pdu_telemetry_set_current(size_t channel, uint16_t raw_adc,
			      uint32_t current_mA);

#endif /* PDU_TELEMETRY_H_ */
```
